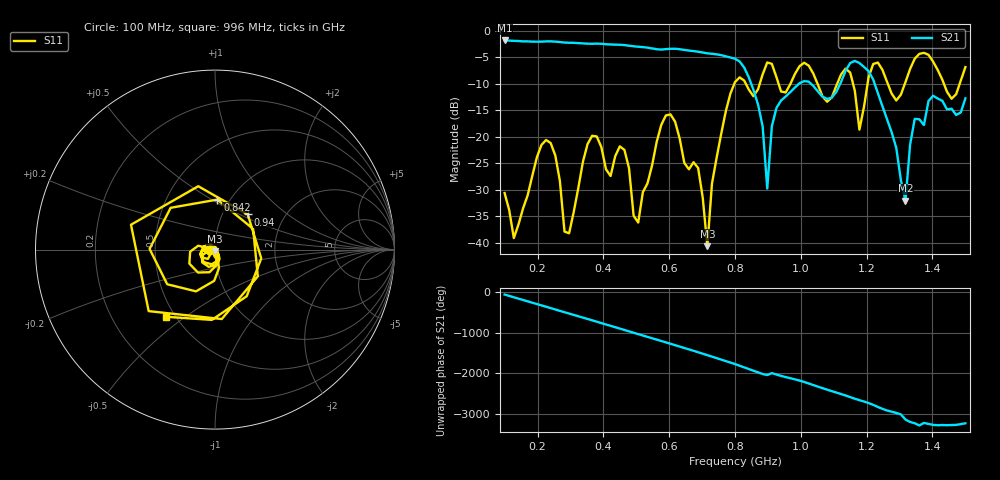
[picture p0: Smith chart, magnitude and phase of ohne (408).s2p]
! NanoVNA-App
! Date: 2025-09-25 14:23:58
! Start: 100MHz Stop: 1,5GHz Points: 101
! S-Parameter data: F S11 S21 S12 S22
# Hz S RI R 50
!  Frequency  S11_Real  S11_Imag  S21_Real  S21_Imag  S12_Real  S12_Imag  S22_Real  S22_Imag
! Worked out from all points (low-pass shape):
!   101 points, 100 MHz to 1.5 GHz, reference 50 ohm
!   highest |S21| = -1.79 dB at 100 MHz (marker M1); lowest = -32.1 dB at 1.318 GHz (marker M2)
!   |S21| within 3 dB of the highest: start of sweep to 772.2 MHz
!   lowest |S11| = -40.7 dB at 716 MHz (marker M3), VSWR 1.02, Z = 49.7 - j0.885 ohm
!   |S11| at or under -10 dB: start of sweep to 797.8 MHz; 833.1 MHz to 875.1 MHz (41.99 MHz wide, 4.92 % of centre); 1.051 GHz to 1.11 GHz (59.44 MHz wide, 5.5 % of centre) (the widest 3 of 7)
!   S12 and S22 are empty: the file has one direction only
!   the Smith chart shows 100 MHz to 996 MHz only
!   S11 on the Smith chart (normalised r, x): 100 MHz: 0.94, -0.01; 842 MHz: 0.88, +0.53; 940 MHz: 1.31, +0.55; 996 MHz: 0.44, -0.42
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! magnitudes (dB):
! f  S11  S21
! 100 MHz  -30.6  -1.8
! 128 MHz  -39.1  -1.9
! 226 MHz  -20.6  -2.0
! 296 MHz  -38.2  -2.2
! 338 MHz  -24.7  -2.4
! 464 MHz  -22.5  -2.7
! 506 MHz  -36.2  -3.0
! 576 MHz  -17.7  -3.5
! 688 MHz  -25.9  -3.9
! 716 MHz  -40.7  -4.2
! 800 MHz  -9.7  -5.2
! 842 MHz  -11.1  -8.8
! 898 MHz  -5.9  -29.8
! 940 MHz  -11.4  -13.1
! 996 MHz  -6.7  -9.9
! 1.038 GHz  -8.1  -10.4
! 1.178 GHz  -18.7  -6.1
! 1.22 GHz  -6.2  -9.2
! 1.276 GHz  -11.8  -19.2
! 1.318 GHz  -9.7  -32.1
! 1.346 GHz  -5.3  -16.6
! 1.5 GHz  -6.8  -12.8
